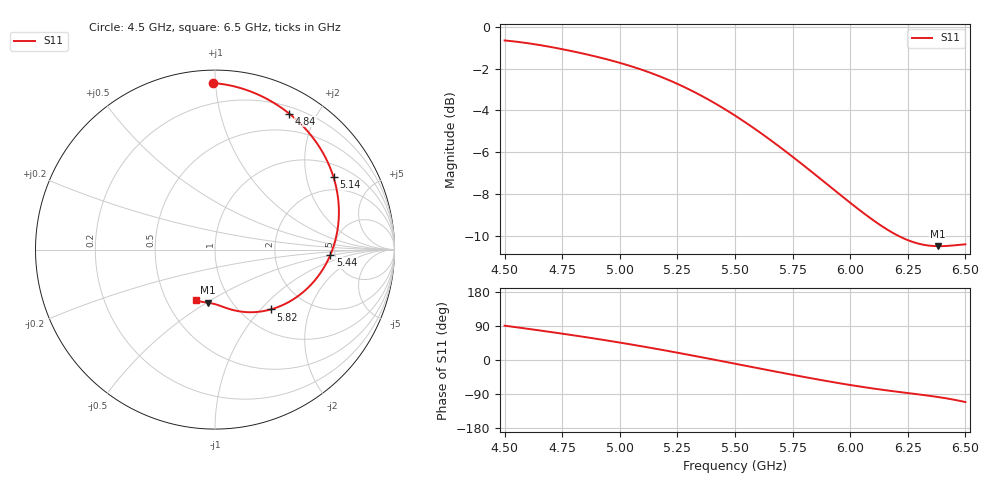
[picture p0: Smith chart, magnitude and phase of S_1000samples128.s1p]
! TOUCHSTONE file generated by CST MICROWAVE STUDIO
! Date and time: Thu Oct 27 02:24:13 2022
! Project name: L.cst
! Parameters = {Di=1.27; Epsilon_r=1.56; InnerDiameter=1.27; Length=2; Lf=10; Lg=60; OuterConductorThickness=0.2921; OuterDiameter=3.6; Wf=3; Wp=41.2; de=1.5; df=6.8; g=0.8; gx=2.22267; gy=3.99002; h=2.34; hf=1.524; px=12.2539; py=10.4046; w=9.7; wx=10.0313; wy=6.41453}
! Header version: 2018
! Port assignment regex: !\s*Touchstone port\s*([0-9]+)\s*=\s*(CST MWS port|CST DS port)\s*([0-9]+|Zmin|Zmax)\s*\(\"(.*)\"\)(\s*mode\s*([0-9]+))?.*
! Touchstone port assignment:
! Touchstone port 1 = CST MWS port 1 ("")
# GHz S DB R 50
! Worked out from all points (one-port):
!   101 points, 4.5 GHz to 6.5 GHz, reference 50 ohm
!   lowest |S11| = -10.5 dB at 6.38 GHz (marker M1), VSWR 1.85, Z = 39 - j25.3 ohm
!   |S11| at or under -10 dB: 6.209 GHz to end of sweep
!   S11 on the Smith chart (normalised r, x): 4.5 GHz: 0.07, +0.99; 4.84 GHz: 0.28, +1.65; 5.14 GHz: 1.45, +2.90; 5.44 GHz: 4.55, -0.47; 5.82 GHz: 1.35, -1.14; 6.5 GHz: 0.70, -0.43
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4.5  -0.65 90.5
4.56  -0.72 85.7
4.62  -0.82 80.7
4.68  -0.92 75.6
4.76  -1.09 68.6
4.84  -1.28 61.4
4.92  -1.49 53.8
5  -1.72 46.0
5.08  -2.00 37.8
5.14  -2.23 31.4
5.2  -2.49 24.8
5.26  -2.78 18.1
5.34  -3.21 9.0
5.38  -3.45 4.3
5.44  -3.83 -2.7
5.5  -4.25 -9.8
5.58  -4.83 -19.2
5.64  -5.30 -26.3
5.7  -5.79 -33.3
5.76  -6.30 -40.2
5.82  -6.82 -47.0
5.9  -7.53 -55.7
6  -8.42 -65.9
6.12  -9.41 -76.9
6.26  -10.25 -88.0
6.38  -10.49 -97.6
6.44  -10.47 -103.6
6.5  -10.41 -111.0
